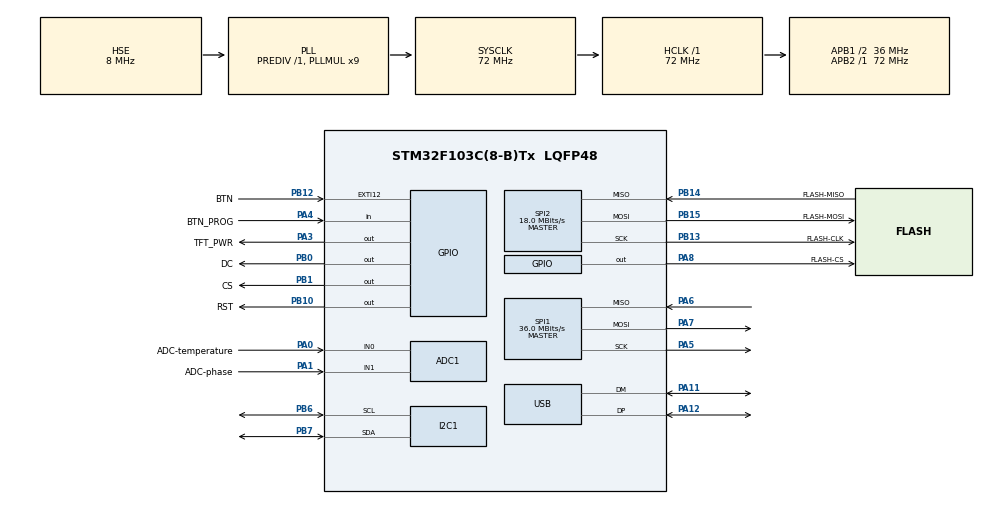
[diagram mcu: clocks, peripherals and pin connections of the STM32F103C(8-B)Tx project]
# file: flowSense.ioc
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ADC1.Channel-0\#ChannelRegularConversion=ADC_CHANNEL_0
ADC1.NbrOfConversion=1
ADC1.NbrOfConversionFlag=1
ADC1.Rank-0\#ChannelRegularConversion=1
ADC1.SamplingTime-0\#ChannelRegularConversion=ADC_SAMPLETIME_239CYCLES_5
ADC1.master=1
Dma.Request0=SPI1_TX
Dma.Request1=SPI2_RX
Dma.Request2=SPI2_TX
Dma.SPI1_TX.0.Direction=DMA_MEMORY_TO_PERIPH
Dma.SPI1_TX.0.Instance=DMA1_Channel3
Dma.SPI1_TX.0.MemDataAlignment=DMA_MDATAALIGN_BYTE
Dma.SPI1_TX.0.MemInc=DMA_MINC_ENABLE
Dma.SPI1_TX.0.Mode=DMA_NORMAL
Dma.SPI1_TX.0.PeriphDataAlignment=DMA_PDATAALIGN_BYTE
Dma.SPI1_TX.0.PeriphInc=DMA_PINC_DISABLE
Dma.SPI1_TX.0.Priority=DMA_PRIORITY_VERY_HIGH
Dma.SPI2_RX.1.Direction=DMA_PERIPH_TO_MEMORY
Dma.SPI2_RX.1.Instance=DMA1_Channel4
Dma.SPI2_RX.1.MemDataAlignment=DMA_MDATAALIGN_BYTE
Dma.SPI2_RX.1.MemInc=DMA_MINC_ENABLE
Dma.SPI2_RX.1.Mode=DMA_NORMAL
Dma.SPI2_RX.1.PeriphDataAlignment=DMA_PDATAALIGN_BYTE
Dma.SPI2_RX.1.PeriphInc=DMA_PINC_DISABLE
Dma.SPI2_RX.1.Priority=DMA_PRIORITY_LOW
Dma.SPI2_TX.2.Direction=DMA_MEMORY_TO_PERIPH
Dma.SPI2_TX.2.Instance=DMA1_Channel5
Dma.SPI2_TX.2.MemDataAlignment=DMA_MDATAALIGN_BYTE
Dma.SPI2_TX.2.MemInc=DMA_MINC_ENABLE
Dma.SPI2_TX.2.Mode=DMA_NORMAL
Dma.SPI2_TX.2.PeriphDataAlignment=DMA_PDATAALIGN_BYTE
Dma.SPI2_TX.2.PeriphInc=DMA_PINC_DISABLE
Dma.SPI2_TX.2.Priority=DMA_PRIORITY_LOW
Mcu.Family=STM32F1
Mcu.Name=STM32F103C(8-B)Tx
Mcu.Package=LQFP48
NVIC.DMA1_Channel3_IRQn=true\:0\:0\:false\:false\:true\:false\:true\:true
NVIC.DMA1_Channel4_IRQn=true\:0\:0\:false\:false\:true\:false\:true\:true
NVIC.DMA1_Channel5_IRQn=true\:0\:0\:false\:false\:true\:false\:true\:true
NVIC.EXTI15_10_IRQn=true\:0\:0\:false\:false\:true\:true\:true\:true
NVIC.PriorityGroup=NVIC_PRIORITYGROUP_4
NVIC.USB_LP_CAN1_RX0_IRQn=true\:0\:0\:false\:false\:true\:false\:true\:true
PA0-WKUP.GPIO_Label=ADC-temperature
PA0-WKUP.Signal=ADCx_IN0
PA1.GPIO_Label=ADC-phase
PA1.Signal=ADCx_IN1
PA11.Mode=Device
PA11.Signal=USB_DM
PA12.Mode=Device
PA12.Signal=USB_DP
PA3.GPIO_Label=TFT_PWR
PA3.Signal=GPIO_Output
PA4.GPIO_Label=BTN_PROG
PA4.Signal=GPIO_Input
PA5.Mode=Full_Duplex_Master
PA5.Signal=SPI1_SCK
PA6.Mode=Full_Duplex_Master
PA6.Signal=SPI1_MISO
PA7.Mode=Full_Duplex_Master
PA7.Signal=SPI1_MOSI
PA8.GPIO_Label=FLASH-CS
PA8.PinState=GPIO_PIN_SET
PA8.Signal=GPIO_Output
PB0.GPIO_Label=DC
PB0.Signal=GPIO_Output
PB1.GPIO_Label=CS
PB1.Signal=GPIO_Output
PB10.GPIO_Label=RST
PB10.GPIO_PuPd=GPIO_NOPULL
PB10.Signal=GPIO_Output
PB12.GPIO_Label=BTN
PB12.GPIO_ModeDefaultEXTI=GPIO_MODE_IT_FALLING
PB12.GPIO_PuPd=GPIO_NOPULL
PB12.Signal=GPXTI12
PB13.GPIO_Label=FLASH-CLK
PB13.Mode=Full_Duplex_Master
PB13.Signal=SPI2_SCK
PB14.GPIO_Label=FLASH-MISO
PB14.Mode=Full_Duplex_Master
PB14.Signal=SPI2_MISO
PB15.GPIO_Label=FLASH-MOSI
PB15.Mode=Full_Duplex_Master
PB15.Signal=SPI2_MOSI
PB6.Mode=I2C
PB6.Signal=I2C1_SCL
PB7.Mode=I2C
PB7.Signal=I2C1_SDA
PD0-OSC_IN.Mode=HSE-External-Oscillator
PD0-OSC_IN.Signal=RCC_OSC_IN
PD1-OSC_OUT.Mode=HSE-External-Oscillator
PD1-OSC_OUT.Signal=RCC_OSC_OUT
ProjectManager.HeapSize=0x200
ProjectManager.StackSize=0x400
ProjectManager.TargetToolchain=STM32CubeIDE
RCC.ADCPresc=RCC_ADCPCLK2_DIV6
RCC.AHBFreq_Value=72000000
RCC.APB1CLKDivider=RCC_HCLK_DIV2
RCC.APB1Freq_Value=36000000
RCC.APB1TimFreq_Value=72000000
RCC.APB2Freq_Value=72000000
RCC.APB2TimFreq_Value=72000000
RCC.HCLKFreq_Value=72000000
RCC.PLLMUL=RCC_PLL_MUL9
RCC.SYSCLKFreq_VALUE=72000000
RCC.SYSCLKSource=RCC_SYSCLKSOURCE_PLLCLK
RCC.USBFreq_Value=48000000
RCC.USBPrescaler=RCC_USBCLKSOURCE_PLL_DIV1_5
SH.ADCx_IN0.0=ADC1_IN0,IN0
SH.ADCx_IN1.0=ADC1_IN1,IN1
SPI1.BaudRatePrescaler=SPI_BAUDRATEPRESCALER_2
SPI1.CLKPolarity=SPI_POLARITY_LOW
SPI1.CalculateBaudRate=36.0 MBits/s
SPI1.Direction=SPI_DIRECTION_2LINES
SPI1.Mode=SPI_MODE_MASTER
SPI1.VirtualType=VM_MASTER
SPI2.BaudRatePrescaler=SPI_BAUDRATEPRESCALER_2
SPI2.CalculateBaudRate=18.0 MBits/s
SPI2.Direction=SPI_DIRECTION_2LINES
SPI2.Mode=SPI_MODE_MASTER
SPI2.VirtualType=VM_MASTER
USB_DEVICE.CLASS_NAME_FS=CDC
USB_DEVICE.VirtualMode=Cdc
USB_DEVICE.VirtualModeFS=Cdc_FS
VP_SYS_VS_ND.Mode=No_Debug
VP_USB_DEVICE_VS_USB_DEVICE_CDC_FS.Mode=CDC_FS
board=custom

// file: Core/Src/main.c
/* USER CODE BEGIN Header */
/**
  ******************************************************************************
  * @file           : main.c
  * @brief          : Main program body
  ******************************************************************************
  * @attention
  *
  * Copyright (c) 2026 STMicroelectronics.
  * All rights reserved.
  *#include "DEV_Config.h"
#include "LCD_1in28.h"
  * This software is licensed under terms that can be found in the LICENSE file
  * in the root directory of this software component.
  * If no LICENSE file comes with this software, it is provided AS-IS.
  *
  ******************************************************************************
  */
/* USER CODE END Header */
#include "main.h"
#include "usb_device.h"

/* USER CODE BEGIN Includes */
#include "DEV_Config.h"
#include "LCD_1in28.h"
#include "GUI_Paint.h"
#include "fonts.h"
#include "screen_process.h"
#include "programming.h"
#include "usbd_cdc_if.h"
#include <string.h>
#include "W25Q128.h"
#include "phase.h"

/* USER CODE END Includes */

/* USER CODE BEGIN PTD */
DMA_HandleTypeDef hdma_spi2_rx;
DMA_HandleTypeDef hdma_spi2_tx;
/* USER CODE END PTD */

ADC_HandleTypeDef hadc1;

I2C_HandleTypeDef hi2c1;

SPI_HandleTypeDef hspi1;
SPI_HandleTypeDef hspi2;
DMA_HandleTypeDef hdma_spi1_tx;
DMA_HandleTypeDef hdma_spi2_rx;
DMA_HandleTypeDef hdma_spi2_tx;

/* USER CODE BEGIN PV */
uint32_t lastButtonPress = 0;
volatile uint8_t buttonPressed = 0;
volatile uint8_t buttonLocked = 0;
volatile ScreenType currentScreen = SCREEN_OPENING_TITLE;
extern volatile uint8_t programming_trigger;
extern uint8_t program_buffer[256];
extern volatile uint8_t programming_requested;
extern volatile uint16_t program_buffer_count;
extern volatile uint8_t program_buffer_ready;

/* USER CODE END PV */

void SystemClock_Config(void);
static void MX_GPIO_Init(void);
static void MX_DMA_Init(void);
static void MX_SPI1_Init(void);
static void MX_SPI2_Init(void);
static void MX_ADC1_Init(void);
static void MX_I2C1_Init(void);
/* USER CODE BEGIN PFP */
void Enter_Sleep(void);

/* USER CODE END PFP */

int main(void)
{

  /* USER CODE BEGIN 1 */
	__HAL_RCC_GPIOC_CLK_ENABLE();
	GPIO_InitTypeDef GPIO_InitStruct = {0};
	GPIO_InitStruct.Pin = GPIO_PIN_13;
	GPIO_InitStruct.Mode = GPIO_MODE_OUTPUT_PP;
	GPIO_InitStruct.Pull = GPIO_NOPULL;
	GPIO_InitStruct.Speed = GPIO_SPEED_FREQ_LOW;
	HAL_GPIO_Init(GPIOC, &GPIO_InitStruct);
  /* USER CODE END 1 */

  /* MCU Configuration--------------------------------------------------------*/

  /* Reset of all peripherals, Initializes the Flash interface and the Systick. */
  HAL_Init();

  /* Configure the system clock */
  SystemClock_Config();

  /* Initialize all configured peripherals */
  MX_GPIO_Init();
  MX_DMA_Init();
  MX_SPI1_Init();
  MX_SPI2_Init();
  MX_ADC1_Init();
  MX_USB_DEVICE_Init();
  MX_I2C1_Init();
  /* USER CODE BEGIN 2 */
  // Initialise LCD
  DEV_Module_Init();
  LCD_1IN28_Init(HORIZONTAL);
  // Initialise text
  Paint_NewImage(240, 240, ROTATE_0, BLACK);
  Paint_SetDisplayFuntion(LCD_1IN28_DrawPaint);
  Paint_SetClearFuntion(LCD_1IN28_Clear);

  // flash memory here
  LCD_1IN28_Clear(BLACK);
  while (HAL_GPIO_ReadPin(BTN_PROG_GPIO_Port, BTN_PROG_Pin) == GPIO_PIN_RESET)
  {
	  if(programming_state == PROGRAM_START)
		  Display_Icon(&IconConfigscreens[15]);
	  Programming_Task();

	  if (demo_mode)
	  {
	      for (uint8_t i = 0; i < 18; i++)
	      {
	          LCD_1IN28_Clear(BLACK);
	          Display_Icon(&IconConfigscreens[i]);
	          if( i >=4 && i <= 13)
	        	  HAL_Delay(500);
	          else
	        	  HAL_Delay(3000);
	      }
	      LCD_1IN28_Clear(BLACK);
		  Display_Icon(&IconConfigscreens[15]);
	      demo_mode = 0;
	  }
  }
  // show the splash screen here
  Display_Splash();
  currentScreen = SCREEN_FLOW;

  uint32_t lastScreenUpdate = HAL_GetTick();
  static uint32_t releaseTime = 0;
  /* USER CODE END 2 */

  /* Infinite loop */
  while (1)
  {

    /* USER CODE BEGIN 3 */
	  /* USER CODE BEGIN 3 */

	  // Advance screen on button press
	  if (buttonPressed)
	  {
	      lastButtonPress = HAL_GetTick();
	      buttonPressed = 0;

	      currentScreen++;

	      if (currentScreen >= SCREEN_SLEEP)
	          currentScreen = SCREEN_FLOW;

	      Process_Screen(currentScreen);
	      lastScreenUpdate = HAL_GetTick();
	  }

	  // Refresh screen every 3 seconds
	  if (HAL_GetTick() - lastScreenUpdate >= 3000)
	  {
	      Process_Screen(currentScreen);
	      lastScreenUpdate = HAL_GetTick();
	  }

	  // Unlock button after release
	  if (HAL_GPIO_ReadPin(BTN_GPIO_Port, BTN_Pin) == GPIO_PIN_SET)
	  {
	      if (releaseTime == 0)
	          releaseTime = HAL_GetTick();

	      if (HAL_GetTick() - releaseTime >= 500)
	          buttonLocked = 0;
	  }
	  else
	  {
	      releaseTime = 0;
	  }

	  // Sleep after 60 seconds
	  if (HAL_GetTick() - lastButtonPress >= 60000)
	  {
	      Enter_Sleep();
	  }
  }
  /* USER CODE END 3 */
}

void SystemClock_Config(void)
{
  RCC_OscInitTypeDef RCC_OscInitStruct = {0};
  RCC_ClkInitTypeDef RCC_ClkInitStruct = {0};
  RCC_PeriphCLKInitTypeDef PeriphClkInit = {0};

  /** Initializes the RCC Oscillators according to the specified parameters
  * in the RCC_OscInitTypeDef structure.
  */
  RCC_OscInitStruct.OscillatorType = RCC_OSCILLATORTYPE_HSE;
  RCC_OscInitStruct.HSEState = RCC_HSE_ON;
  RCC_OscInitStruct.HSEPredivValue = RCC_HSE_PREDIV_DIV1;
  RCC_OscInitStruct.HSIState = RCC_HSI_ON;
  RCC_OscInitStruct.PLL.PLLState = RCC_PLL_ON;
  RCC_OscInitStruct.PLL.PLLSource = RCC_PLLSOURCE_HSE;
  RCC_OscInitStruct.PLL.PLLMUL = RCC_PLL_MUL9;
  if (HAL_RCC_OscConfig(&RCC_OscInitStruct) != HAL_OK)
  {
    Error_Handler();
  }

  /** Initializes the CPU, AHB and APB buses clocks
  */
  RCC_ClkInitStruct.ClockType = RCC_CLOCKTYPE_HCLK|RCC_CLOCKTYPE_SYSCLK
                              |RCC_CLOCKTYPE_PCLK1|RCC_CLOCKTYPE_PCLK2;
  RCC_ClkInitStruct.SYSCLKSource = RCC_SYSCLKSOURCE_PLLCLK;
  RCC_ClkInitStruct.AHBCLKDivider = RCC_SYSCLK_DIV1;
  RCC_ClkInitStruct.APB1CLKDivider = RCC_HCLK_DIV2;
  RCC_ClkInitStruct.APB2CLKDivider = RCC_HCLK_DIV1;

  if (HAL_RCC_ClockConfig(&RCC_ClkInitStruct, FLASH_LATENCY_2) != HAL_OK)
  {
    Error_Handler();
  }
  PeriphClkInit.PeriphClockSelection = RCC_PERIPHCLK_ADC|RCC_PERIPHCLK_USB;
  PeriphClkInit.AdcClockSelection = RCC_ADCPCLK2_DIV6;
  PeriphClkInit.UsbClockSelection = RCC_USBCLKSOURCE_PLL_DIV1_5;
  if (HAL_RCCEx_PeriphCLKConfig(&PeriphClkInit) != HAL_OK)
  {
    Error_Handler();
  }
}

static void MX_ADC1_Init(void)
{

  ADC_ChannelConfTypeDef sConfig = {0};

  /** Common config
  */
  hadc1.Instance = ADC1;
  hadc1.Init.ScanConvMode = ADC_SCAN_DISABLE;
  hadc1.Init.ContinuousConvMode = DISABLE;
  hadc1.Init.DiscontinuousConvMode = DISABLE;
  hadc1.Init.ExternalTrigConv = ADC_SOFTWARE_START;
  hadc1.Init.DataAlign = ADC_DATAALIGN_RIGHT;
  hadc1.Init.NbrOfConversion = 1;
  if (HAL_ADC_Init(&hadc1) != HAL_OK)
  {
    Error_Handler();
  }

  /** Configure Regular Channel
  */
  sConfig.Channel = ADC_CHANNEL_0;
  sConfig.Rank = ADC_REGULAR_RANK_1;
  sConfig.SamplingTime = ADC_SAMPLETIME_239CYCLES_5;
  if (HAL_ADC_ConfigChannel(&hadc1, &sConfig) != HAL_OK)
  {
    Error_Handler();
  }

}

static void MX_I2C1_Init(void)
{

  hi2c1.Instance = I2C1;
  hi2c1.Init.ClockSpeed = 100000;
  hi2c1.Init.DutyCycle = I2C_DUTYCYCLE_2;
  hi2c1.Init.OwnAddress1 = 0;
  hi2c1.Init.AddressingMode = I2C_ADDRESSINGMODE_7BIT;
  hi2c1.Init.DualAddressMode = I2C_DUALADDRESS_DISABLE;
  hi2c1.Init.OwnAddress2 = 0;
  hi2c1.Init.GeneralCallMode = I2C_GENERALCALL_DISABLE;
  hi2c1.Init.NoStretchMode = I2C_NOSTRETCH_DISABLE;
  if (HAL_I2C_Init(&hi2c1) != HAL_OK)
  {
    Error_Handler();
  }

}

static void MX_SPI1_Init(void)
{

  /* SPI1 parameter configuration*/
  hspi1.Instance = SPI1;
  hspi1.Init.Mode = SPI_MODE_MASTER;
  hspi1.Init.Direction = SPI_DIRECTION_2LINES;
  hspi1.Init.DataSize = SPI_DATASIZE_8BIT;
  hspi1.Init.CLKPolarity = SPI_POLARITY_LOW;
  hspi1.Init.CLKPhase = SPI_PHASE_1EDGE;
  hspi1.Init.NSS = SPI_NSS_SOFT;
  hspi1.Init.BaudRatePrescaler = SPI_BAUDRATEPRESCALER_2;
  hspi1.Init.FirstBit = SPI_FIRSTBIT_MSB;
  hspi1.Init.TIMode = SPI_TIMODE_DISABLE;
  hspi1.Init.CRCCalculation = SPI_CRCCALCULATION_DISABLE;
  hspi1.Init.CRCPolynomial = 10;
  if (HAL_SPI_Init(&hspi1) != HAL_OK)
  {
    Error_Handler();
  }

}

static void MX_SPI2_Init(void)
{

  /* SPI2 parameter configuration*/
  hspi2.Instance = SPI2;
  hspi2.Init.Mode = SPI_MODE_MASTER;
  hspi2.Init.Direction = SPI_DIRECTION_2LINES;
  hspi2.Init.DataSize = SPI_DATASIZE_8BIT;
  hspi2.Init.CLKPolarity = SPI_POLARITY_LOW;
  hspi2.Init.CLKPhase = SPI_PHASE_1EDGE;
  hspi2.Init.NSS = SPI_NSS_SOFT;
  hspi2.Init.BaudRatePrescaler = SPI_BAUDRATEPRESCALER_2;
  hspi2.Init.FirstBit = SPI_FIRSTBIT_MSB;
  hspi2.Init.TIMode = SPI_TIMODE_DISABLE;
  hspi2.Init.CRCCalculation = SPI_CRCCALCULATION_DISABLE;
  hspi2.Init.CRCPolynomial = 10;
  if (HAL_SPI_Init(&hspi2) != HAL_OK)
  {
    Error_Handler();
  }

}

static void MX_DMA_Init(void)
{

  /* DMA controller clock enable */
  __HAL_RCC_DMA1_CLK_ENABLE();

  /* DMA interrupt init */
  /* DMA1_Channel3_IRQn interrupt configuration */
  HAL_NVIC_SetPriority(DMA1_Channel3_IRQn, 0, 0);
  HAL_NVIC_EnableIRQ(DMA1_Channel3_IRQn);
  /* DMA1_Channel4_IRQn interrupt configuration */
  HAL_NVIC_SetPriority(DMA1_Channel4_IRQn, 0, 0);
  HAL_NVIC_EnableIRQ(DMA1_Channel4_IRQn);
  /* DMA1_Channel5_IRQn interrupt configuration */
  HAL_NVIC_SetPriority(DMA1_Channel5_IRQn, 0, 0);
  HAL_NVIC_EnableIRQ(DMA1_Channel5_IRQn);

}

static void MX_GPIO_Init(void)
{
  GPIO_InitTypeDef GPIO_InitStruct = {0};

  /* GPIO Ports Clock Enable */
  __HAL_RCC_GPIOD_CLK_ENABLE();
  __HAL_RCC_GPIOA_CLK_ENABLE();
  __HAL_RCC_GPIOB_CLK_ENABLE();

  /*Configure GPIO pin Output Level */
  HAL_GPIO_WritePin(TFT_PWR_GPIO_Port, TFT_PWR_Pin, GPIO_PIN_RESET);

  /*Configure GPIO pin Output Level */
  HAL_GPIO_WritePin(GPIOB, DC_Pin|CS_Pin|RST_Pin, GPIO_PIN_RESET);

  /*Configure GPIO pin Output Level */
  HAL_GPIO_WritePin(FLASH_CS_GPIO_Port, FLASH_CS_Pin, GPIO_PIN_SET);

  /*Configure GPIO pins : TFT_PWR_Pin FLASH_CS_Pin */
  GPIO_InitStruct.Pin = TFT_PWR_Pin|FLASH_CS_Pin;
  GPIO_InitStruct.Mode = GPIO_MODE_OUTPUT_PP;
  GPIO_InitStruct.Pull = GPIO_NOPULL;
  GPIO_InitStruct.Speed = GPIO_SPEED_FREQ_LOW;
  HAL_GPIO_Init(GPIOA, &GPIO_InitStruct);

  /*Configure GPIO pin : BTN_PROG_Pin */
  GPIO_InitStruct.Pin = BTN_PROG_Pin;
  GPIO_InitStruct.Mode = GPIO_MODE_INPUT;
  GPIO_InitStruct.Pull = GPIO_NOPULL;
  HAL_GPIO_Init(BTN_PROG_GPIO_Port, &GPIO_InitStruct);

  /*Configure GPIO pins : DC_Pin CS_Pin RST_Pin */
  GPIO_InitStruct.Pin = DC_Pin|CS_Pin|RST_Pin;
  GPIO_InitStruct.Mode = GPIO_MODE_OUTPUT_PP;
  GPIO_InitStruct.Pull = GPIO_NOPULL;
  GPIO_InitStruct.Speed = GPIO_SPEED_FREQ_LOW;
  HAL_GPIO_Init(GPIOB, &GPIO_InitStruct);

  /*Configure GPIO pin : BTN_Pin */
  GPIO_InitStruct.Pin = BTN_Pin;
  GPIO_InitStruct.Mode = GPIO_MODE_IT_FALLING;
  GPIO_InitStruct.Pull = GPIO_NOPULL;
  HAL_GPIO_Init(BTN_GPIO_Port, &GPIO_InitStruct);

  /* EXTI interrupt init*/
  HAL_NVIC_SetPriority(EXTI15_10_IRQn, 0, 0);
  HAL_NVIC_EnableIRQ(EXTI15_10_IRQn);

}

/* USER CODE BEGIN 4 */
volatile uint32_t buttonPressTime = 0;
volatile uint8_t buttonPending = 0;

void HAL_GPIO_EXTI_Callback(uint16_t GPIO_Pin)
{
	volatile static uint32_t lastPressTime = 0;

    if ((GPIO_Pin == BTN_Pin) && (currentScreen != SCREEN_OPENING_TITLE) && (!buttonLocked))
    {
        uint32_t now = HAL_GetTick();

        if (now - lastPressTime >= 500)
        {
            buttonPressed = 1;
            buttonLocked = 1;
            lastPressTime = now;
        }
    }
}

void Enter_Sleep(void)
{
    // Show Zzzz icon for 3 seconds
    currentScreen = SCREEN_SLEEP;
    Process_Screen(currentScreen);
    HAL_Delay(3000);

    // Put LCD to sleep
    LCD_1IN28_Clear(BLACK);
    LCD_1IN28_SendCommand(0x28);  // Display OFF
    LCD_1IN28_SendCommand(0x10);  // Sleep IN

    // Ensure LCD SPI transfers have completed.
    // Set LCD SPI/control pins to high impedance here
    // to prevent back-powering the unpowered TFT.

    // Disconnect TFT power (GPIO HIGH = MOSFET OFF)
    HAL_GPIO_WritePin(TFT_PWR_GPIO_Port, TFT_PWR_Pin, GPIO_PIN_SET);

    // Put STM32 to sleep
    HAL_SuspendTick();

    while (!buttonPressed)
    {
        HAL_PWR_EnterSLEEPMode(
            PWR_MAINREGULATOR_ON,
            PWR_SLEEPENTRY_WFI
        );
    }

    // Resume STM32
    HAL_ResumeTick();

    // Restore TFT power (GPIO LOW = MOSFET ON)
    HAL_GPIO_WritePin(TFT_PWR_GPIO_Port, TFT_PWR_Pin, GPIO_PIN_RESET);
    HAL_Delay(20);

    // Restore LCD SPI/control pin configuration here.

    // Reinitialise LCD after power removal
    LCD_1IN28_Init(HORIZONTAL);

    // Return to flow screen
    currentScreen = SCREEN_FLOW;
    lastButtonPress = HAL_GetTick();
    buttonPressed = 0;

    Process_Screen(currentScreen);
}

/* USER CODE END 4 */

void Error_Handler(void)
{
  __disable_irq();
  while (1)
  {
  }
}
